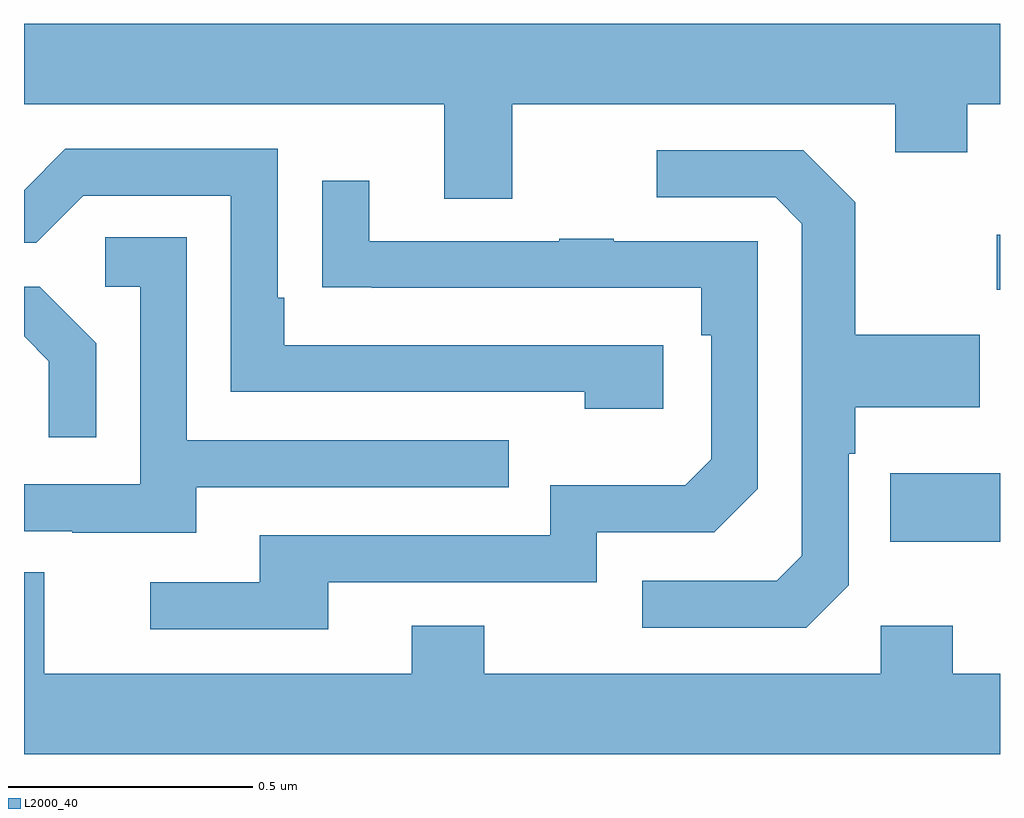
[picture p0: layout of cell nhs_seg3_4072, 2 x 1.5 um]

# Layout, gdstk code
import gdstk
lib = gdstk.Library(unit=1e-6, precision=1e-09)
def R(c, l, rs):  # rectangles x0, y0, x1, y1
    for r in rs: c.add(gdstk.rectangle(r[:2], r[2:], *l))
def P(c, l, *ps):  # polygons
    for p in ps: c.add(gdstk.Polygon(p, *l))
L2000_40 = (2000, 40)

nhs_seg3_4072 = lib.new_cell('nhs_seg3_4072')
R(nhs_seg3_4072, L2000_40, [(162.775,745.307,163,745.447), (162.993,745.823,163,745.936)])
P(nhs_seg3_4072, L2000_40, [(162.001,746.204),(162.785,746.204),(162.785,746.105),(162.933,746.105),(162.933,746.204),(163,746.204),(163,746.368),(161,746.368),(161,746.204),(161.861,746.204),(161.861,746.01),(162.001,746.01)],
  [(162.31,745.71),(161.533,745.71),(161.533,745.807),(161.52,745.807),(161.52,746.112),(161.085,746.112),(161,746.027),(161,745.92),(161.025,745.92),(161.121,746.016),(161.424,746.016),(161.424,745.614),(162.149,745.614),(162.149,745.58),(162.31,745.58)],
  [(162.69,745.218),(162.69,745.487),(162.703,745.487),(162.703,745.583),(162.959,745.583),(162.959,745.731),(162.703,745.731),(162.703,746.003),(162.597,746.109),(162.297,746.109),(162.297,746.013),(162.54,746.013),(162.594,745.959),(162.594,745.278),(162.543,745.227),(162.267,745.227),(162.267,745.131),(162.603,745.131)],
  [(161.623,745.224),(162.174,745.224),(162.174,745.326),(162.414,745.326),(162.504,745.416),(162.504,745.923),(162.209,745.923),(162.209,745.928),(162.097,745.928),(162.097,745.923),(161.707,745.923),(161.707,746.047),(161.611,746.047),(161.611,745.828),(161.713,745.828),(161.713,745.827),(162.388,745.827),(162.388,745.73),(162.408,745.73),(162.408,745.476),(162.355,745.423),(162.078,745.423),(162.078,745.32),(161.483,745.32),(161.483,745.224),(161.259,745.224),(161.259,745.128),(161.623,745.128)],
  [(161.353,745.419),(161.993,745.419),(161.993,745.515),(161.334,745.515),(161.334,745.931),(161.166,745.931),(161.166,745.83),(161.238,745.83),(161.238,745.425),(161,745.425),(161,745.329),(161.099,745.329),(161.099,745.325),(161.353,745.325)],
  [(161.148,745.714),(161.032,745.83),(161,745.83),(161,745.728),(161.051,745.677),(161.051,745.521),(161.148,745.521)],
  [(163,745.036),(162.903,745.036),(162.903,745.135),(162.756,745.135),(162.756,745.036),(161.943,745.036),(161.943,745.135),(161.795,745.135),(161.795,745.036),(161.041,745.036),(161.041,745.244),(161,745.244),(161,744.872),(163,744.872)])

lib.write_gds('nhs_seg3_4072.gds')
